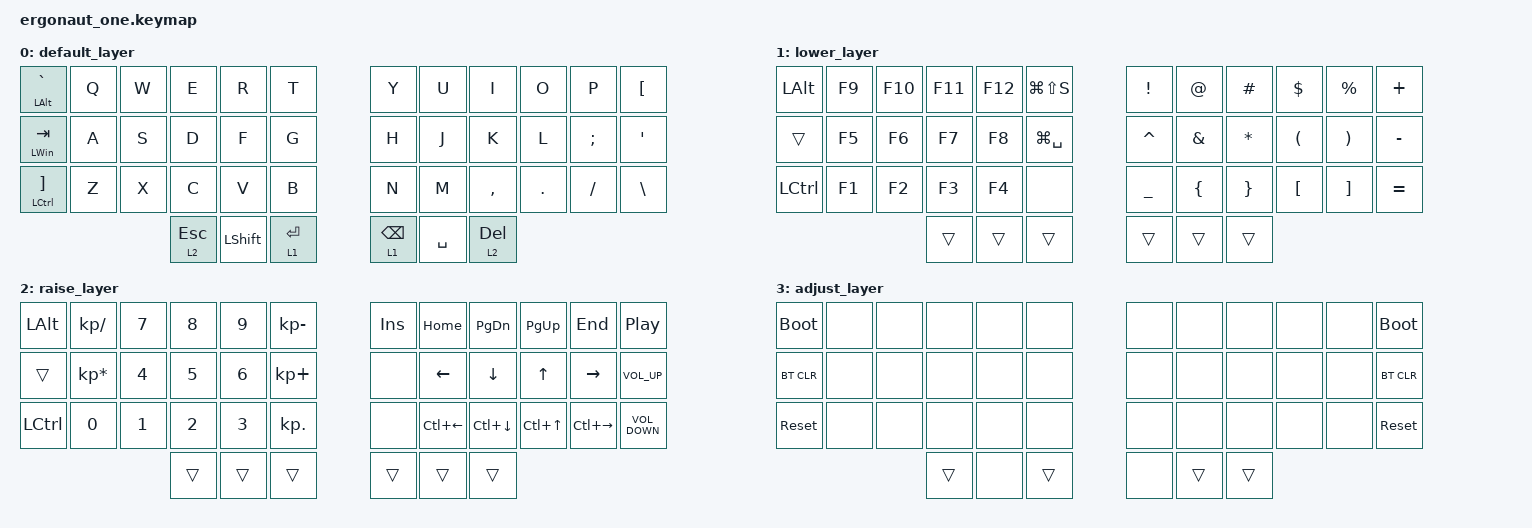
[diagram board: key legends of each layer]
#include <behaviors.dtsi>
#include <dt-bindings/zmk/bt.h>
#include <dt-bindings/zmk/keys.h>

#define DEF 0
#define LWR 1
#define RSE 2
#define ADJ 3

&lt { quick-tap-ms = <200>; };

&mt { quick-tap-ms = <200>; };

/ {
    conditional_layers {
        compatible = "zmk,conditional-layers";

        tri-layer {
            if-layers = <1 2>;
            then-layer = <3>;
        };
    };

    combos {
        compatible = "zmk,combos";

        Brackets1 {
            bindings = <&brackets1>;
            key-positions = <22 21>;
            layers = <1>;
        };

        Brackets2 {
            bindings = <&brackets2>;
            key-positions = <31 32>;
            layers = <1>;
        };

        Brackets3 {
            bindings = <&brackets3>;
            key-positions = <33 34>;
            layers = <1>;
        };
    };

    macros {
        brackets1: brackets1 {
            compatible = "zmk,behavior-macro";
            #binding-cells = <0>;
            bindings = <&kp LEFT_PARENTHESIS &kp RIGHT_PARENTHESIS &kp LEFT>;
            label = "BRACKETS1";
        };

        brackets2: brackets2 {
            compatible = "zmk,behavior-macro";
            #binding-cells = <0>;
            bindings = <&kp LEFT_BRACE &kp RIGHT_BRACE &kp LEFT>;
            label = "BRACKETS2";
        };

        brackets3: brackets3 {
            compatible = "zmk,behavior-macro";
            #binding-cells = <0>;
            bindings = <&kp LEFT_BRACKET &kp RIGHT_BRACKET &kp LEFT>;
            label = "BRACKETS3";
        };
    };

    keymap {
        compatible = "zmk,keymap";

        default_layer {
            bindings = <
&mt LEFT_ALT GRAVE  &kp Q  &kp W  &kp E         &kp R           &kp T         &kp Y            &kp U      &kp I         &kp O    &kp P     &kp LBKT
&mt LEFT_WIN TAB    &kp A  &kp S  &kp D         &kp F           &kp G         &kp H            &kp J      &kp K         &kp L    &kp SEMI  &kp APOSTROPHE
&mt LCTRL RBKT      &kp Z  &kp X  &kp C         &kp V           &kp B         &kp N            &kp M      &kp COMMA     &kp DOT  &kp FSLH  &kp BACKSLASH
                                  &lt 2 ESCAPE  &kp LEFT_SHIFT  &lt 1 RETURN  &lt 1 BACKSPACE  &kp SPACE  &lt 2 DELETE
            >;
        };

        lower_layer {
            bindings = <
&kp LEFT_ALT  &kp F9  &kp F10  &kp F11  &kp F12  &kp LG(LS(S))  &kp EXCLAMATION  &kp AT_SIGN     &kp POUND        &kp DOLLAR            &kp PERCENT            &kp PLUS
&trans        &kp F5  &kp F6   &kp F7   &kp F8   &kp LG(SPACE)  &kp CARET        &kp AMPERSAND   &kp ASTRK        &kp LEFT_PARENTHESIS  &kp RIGHT_PARENTHESIS  &kp MINUS
&kp LCTRL     &kp F1  &kp F2   &kp F3   &kp F4   &none          &kp UNDERSCORE   &kp LEFT_BRACE  &kp RIGHT_BRACE  &kp LBKT              &kp RBKT               &kp EQUAL
                               &trans   &trans   &trans         &trans           &trans          &trans
            >;
        };

        raise_layer {
            bindings = <
&kp LEFT_ALT  &kp KP_DIVIDE    &kp N7  &kp N8  &kp N9  &kp KP_MINUS  &kp INSERT  &kp HOME      &kp PAGE_DOWN  &kp PAGE_UP       &kp END        &kp C_PLAY_PAUSE
&trans        &kp KP_MULTIPLY  &kp N4  &kp N5  &kp N6  &kp KP_PLUS   &none       &kp LEFT      &kp DOWN       &kp UP            &kp RIGHT      &kp C_VOLUME_UP
&kp LCTRL     &kp N0           &kp N1  &kp N2  &kp N3  &kp KP_DOT    &none       &kp LC(LEFT)  &kp LC(DOWN)   &kp LC(UP_ARROW)  &kp LC(RIGHT)  &kp C_VOLUME_DOWN
                                       &trans  &trans  &trans        &trans      &trans        &trans
            >;
        };

        adjust_layer {
            bindings = <
&bootloader  &none  &none  &none   &none  &none   &none  &none   &none   &none  &none  &bootloader
&bt BT_CLR   &none  &none  &none   &none  &none   &none  &none   &none   &none  &none  &bt BT_CLR
&sys_reset   &none  &none  &none   &none  &none   &none  &none   &none   &none  &none  &sys_reset
                           &trans  &none  &trans  &none  &trans  &trans
            >;
        };
    };
};
